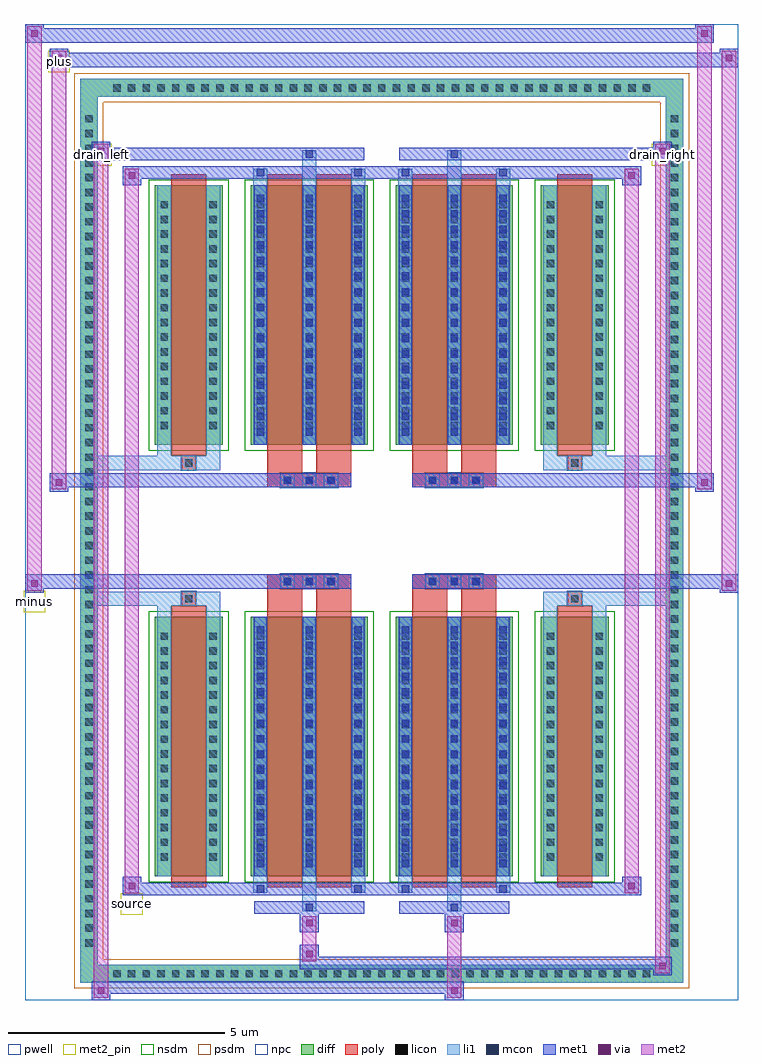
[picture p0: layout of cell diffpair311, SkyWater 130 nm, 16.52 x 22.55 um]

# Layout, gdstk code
import gdstk
lib = gdstk.Library(unit=1e-6, precision=5e-09)
def R(c, l, rs):  # rectangles x0, y0, x1, y1
    for r in rs: c.add(gdstk.rectangle(r[:2], r[2:], *l))
def A(c, l, x, y, w, h, nx, ny, dx, dy):  # array of equal rectangles
    R(c, l, [(x+i*dx, y+j*dy, x+i*dx+w, y+j*dy+h) for i in range(nx) for j in range(ny)])
def P(c, l, *ps):  # polygons
    for p in ps: c.add(gdstk.Polygon(p, *l))
pwell = (64, 44)
diff = (65, 20)
poly = (66, 20)
licon = (66, 44)
li1 = (67, 20)
mcon = (67, 44)
met1 = (68, 20)
via = (68, 44)
met2_pin = (69, 16)
met2 = (69, 20)
nsdm = (93, 44)
psdm = (94, 20)
npc = (95, 20)

diffpair311 = lib.new_cell('diffpair311')
R(diffpair311, pwell, [(-8.24,-10.84,8.24,11.71), (-5.56,-9.03,-0.01,-0.805), (0.01,-9.03,5.56,-0.805), (-5.56,0.805,-0.01,9.03), (0.01,0.805,5.56,9.03)])
A(diffpair311, diff, -6.325, -10.44, 0.41, 0.41, 37, 2, 0.34, 20.47)
A(diffpair311, diff, -6.97, -9.725, 0.41, 0.41, 1, 57, 0, 0.34)
A(diffpair311, diff, 6.56, -9.725, 0.41, 0.41, 1, 57, 0, 0.34)
R(diffpair311, diff, [(-6.325,-10.44,6.325,-10.03), (-6.97,-9.725,-6.56,9.725), (6.56,-9.725,6.97,9.725), (-5.25,-7.985,-3.67,-1.985), (-3.03,-7.985,-0.32,-1.985), (0.32,-7.985,3.03,-1.985), (3.67,-7.985,5.25,-1.985), (-5.25,1.985,-3.67,7.985), (-3.03,1.985,-0.32,7.985), (0.32,1.985,3.03,7.985), (3.67,1.985,5.25,7.985), (-6.325,10.03,6.325,10.44)])
P(diffpair311, diff, [(6.97,10.44),(-6.97,10.44),(-6.97,-10.03),(-6.56,-10.03),(-6.56,10.03),(6.56,10.03),(6.56,-10.03),(-6.56,-10.03),(-6.97,-10.03),(-6.97,-10.44),(6.97,-10.44)])
A(diffpair311, poly, -2.34, -1.335, 0.33, 0.33, 3, 2, 0.5, 2.34)
A(diffpair311, poly, 1.01, -1.335, 0.33, 0.33, 3, 2, 0.5, 2.34)
R(diffpair311, poly, [(-4.86,-8.235,-4.06,-1.735), (-2.64,-8.235,-1.84,-1.735), (-1.51,-8.235,-0.71,-1.735), (0.71,-8.235,1.51,-1.735), (1.84,-8.235,2.64,-1.735), (4.06,-8.235,4.86,-1.735), (-4.625,-1.735,-4.295,-1.405), (-4.625,-1.735,-4.295,-1.405), (-2.64,-1.735,-1.84,-1.335), (-1.51,-1.735,-0.71,-1.335), (0.71,-1.735,1.51,-1.335), (1.84,-1.735,2.64,-1.335), (4.295,-1.735,4.625,-1.405), (4.295,-1.735,4.625,-1.405), (-2.64,-1.335,-0.71,-1.005), (0.71,-1.335,2.64,-1.005), (-2.64,1.005,-0.71,1.335), (0.71,1.005,2.64,1.335), (-2.64,1.335,-1.84,1.735), (-1.51,1.335,-0.71,1.735), (0.71,1.335,1.51,1.735), (1.84,1.335,2.64,1.735), (-4.625,1.405,-4.295,1.735), (-4.625,1.405,-4.295,1.735), (4.295,1.405,4.625,1.735), (4.295,1.405,4.625,1.735), (-4.86,1.735,-4.06,8.235), (-2.64,1.735,-1.84,8.235), (-1.51,1.735,-0.71,8.235), (0.71,1.735,1.51,8.235), (1.84,1.735,2.64,8.235), (4.06,1.735,4.86,8.235)])
A(diffpair311, licon, -6.205, -10.32, 0.17, 0.17, 37, 2, 0.34, 20.47)
A(diffpair311, licon, -6.85, -9.605, 0.17, 0.17, 1, 57, 0, 0.34)
A(diffpair311, licon, 6.68, -9.605, 0.17, 0.17, 1, 57, 0, 0.34)
A(diffpair311, licon, -5.11, -7.62, 0.17, 0.17, 1, 16, 0, 0.34)
A(diffpair311, licon, -3.98, -7.62, 0.17, 0.17, 1, 16, 0, 0.34)
A(diffpair311, licon, -2.89, -7.62, 0.17, 0.17, 3, 16, 1.13, 0.34)
A(diffpair311, licon, 0.46, -7.62, 0.17, 0.17, 3, 16, 1.13, 0.34)
A(diffpair311, licon, 3.81, -7.62, 0.17, 0.17, 1, 16, 0, 0.34)
A(diffpair311, licon, 4.94, -7.62, 0.17, 0.17, 1, 16, 0, 0.34)
A(diffpair311, licon, -2.26, -1.255, 0.17, 0.17, 3, 2, 0.5, 2.34)
A(diffpair311, licon, 1.09, -1.255, 0.17, 0.17, 3, 2, 0.5, 2.34)
A(diffpair311, licon, -5.11, 2.35, 0.17, 0.17, 1, 16, 0, 0.34)
A(diffpair311, licon, -3.98, 2.35, 0.17, 0.17, 1, 16, 0, 0.34)
A(diffpair311, licon, -2.89, 2.35, 0.17, 0.17, 3, 16, 1.13, 0.34)
A(diffpair311, licon, 0.46, 2.35, 0.17, 0.17, 3, 16, 1.13, 0.34)
A(diffpair311, licon, 3.81, 2.35, 0.17, 0.17, 1, 16, 0, 0.34)
A(diffpair311, licon, 4.94, 2.35, 0.17, 0.17, 1, 16, 0, 0.34)
R(diffpair311, licon, [(-4.545,-1.655,-4.375,-1.485), (4.375,-1.655,4.545,-1.485), (-4.545,1.485,-4.375,1.655), (4.375,1.485,4.545,1.655)])
A(diffpair311, li1, -6.285, -10.4, 0.33, 0.33, 37, 2, 0.34, 20.47)
A(diffpair311, li1, -6.93, -9.685, 0.33, 0.33, 1, 57, 0, 0.34)
A(diffpair311, li1, 6.6, -9.685, 0.33, 0.33, 1, 57, 0, 0.34)
A(diffpair311, li1, -2.97, -7.985, 0.33, 6, 3, 2, 1.13, 9.97)
A(diffpair311, li1, 0.38, -7.985, 0.33, 6, 3, 2, 1.13, 9.97)
A(diffpair311, li1, -2.89, -7.77, 0.17, 0.17, 3, 16, 1.13, 0.36)
A(diffpair311, li1, -2.89, -7.77, 0.17, 5.57, 3, 2, 1.13, 9.97)
A(diffpair311, li1, 0.46, -7.77, 0.17, 0.17, 3, 16, 1.13, 0.36)
A(diffpair311, li1, 0.46, -7.77, 0.17, 5.57, 3, 2, 1.13, 9.97)
A(diffpair311, li1, -5.19, -7.7, 0.33, 0.33, 1, 16, 0, 0.34)
A(diffpair311, li1, -4.06, -7.7, 0.33, 0.33, 1, 16, 0, 0.34)
A(diffpair311, li1, -2.97, -7.7, 0.33, 0.33, 3, 16, 1.13, 0.34)
A(diffpair311, li1, 0.38, -7.7, 0.33, 0.33, 3, 16, 1.13, 0.34)
A(diffpair311, li1, 3.73, -7.7, 0.33, 0.33, 1, 16, 0, 0.34)
A(diffpair311, li1, 4.86, -7.7, 0.33, 0.33, 1, 16, 0, 0.34)
A(diffpair311, li1, -2.34, -1.335, 0.33, 0.33, 3, 2, 0.5, 2.34)
A(diffpair311, li1, 1.01, -1.335, 0.33, 0.33, 3, 2, 0.5, 2.34)
A(diffpair311, li1, -2.89, 2.2, 0.17, 0.17, 3, 16, 1.13, 0.36)
A(diffpair311, li1, 0.46, 2.2, 0.17, 0.17, 3, 16, 1.13, 0.36)
A(diffpair311, li1, -5.19, 2.27, 0.33, 0.33, 1, 16, 0, 0.34)
A(diffpair311, li1, -4.06, 2.27, 0.33, 0.33, 1, 16, 0, 0.34)
A(diffpair311, li1, -2.97, 2.27, 0.33, 0.33, 3, 16, 1.13, 0.34)
A(diffpair311, li1, 0.38, 2.27, 0.33, 0.33, 3, 16, 1.13, 0.34)
A(diffpair311, li1, 3.73, 2.27, 0.33, 0.33, 1, 16, 0, 0.34)
A(diffpair311, li1, 4.86, 2.27, 0.33, 0.33, 1, 16, 0, 0.34)
R(diffpair311, li1, [(-6.97,-10.44,-6.56,-10.03), (-6.97,-10.44,-6.56,-10.03), (-6.56,-10.44,6.56,-10.03), (6.56,-10.44,6.97,-10.03), (6.56,-10.44,6.97,-10.03), (-6.97,-10.03,-6.56,10.03), (6.56,-10.03,6.97,10.03), (-1.84,-8.79,-1.51,-7.985), (-1.76,-8.79,-1.59,-8.62), (1.51,-8.79,1.84,-7.985), (1.59,-8.79,1.76,-8.62), (-2.97,-8.36,-2.64,-7.985), (-2.89,-8.36,-2.72,-8.19), (-0.71,-8.36,-0.38,-7.985), (-0.63,-8.36,-0.46,-8.19), (0.38,-8.36,0.71,-7.985), (0.46,-8.36,0.63,-8.19), (2.64,-8.36,2.97,-7.985), (2.72,-8.36,2.89,-8.19), (-5.19,-7.985,-4.86,-1.985), (-4.06,-7.985,-3.73,-1.985), (3.73,-7.985,4.06,-1.985), (4.86,-7.985,5.19,-1.985), (-5.19,-1.985,-4.86,-1.405), (-4.06,-1.985,-3.73,-1.405), (3.73,-1.985,4.06,-1.405), (4.86,-1.985,5.19,-1.405), (-6.97,-1.735,-4.625,-1.405), (-5.19,-1.735,-4.625,-1.405), (-4.625,-1.735,-4.295,-1.405), (-4.295,-1.735,-3.73,-1.405), (3.73,-1.735,4.295,-1.405), (4.295,-1.735,4.625,-1.405), (4.295,-1.735,6.97,-1.405), (4.625,-1.735,5.19,-1.405), (-6.97,1.405,-4.625,1.735), (-5.19,1.405,-4.625,1.735), (-5.19,1.405,-4.86,1.985), (-4.625,1.405,-4.295,1.735), (-4.295,1.405,-3.73,1.735), (-4.06,1.405,-3.73,1.985), (3.73,1.405,4.295,1.735), (3.73,1.405,4.06,1.985), (4.295,1.405,4.625,1.735), (4.295,1.405,6.97,1.735), (4.625,1.405,5.19,1.735), (4.86,1.405,5.19,1.985), (-5.19,1.985,-4.86,7.985), (-4.06,1.985,-3.73,7.985), (3.73,1.985,4.06,7.985), (4.86,1.985,5.19,7.985), (-2.97,7.985,-2.64,8.36), (-1.84,7.985,-1.51,8.79), (-0.71,7.985,-0.38,8.36), (0.38,7.985,0.71,8.36), (1.51,7.985,1.84,8.79), (2.64,7.985,2.97,8.36), (-2.89,8.19,-2.72,8.36), (-0.63,8.19,-0.46,8.36), (0.46,8.19,0.63,8.36), (2.72,8.19,2.89,8.36), (-1.76,8.62,-1.59,8.79), (1.59,8.62,1.76,8.79), (-6.97,10.03,-6.56,10.44), (-6.97,10.03,-6.56,10.44), (-6.56,10.03,6.56,10.44), (6.56,10.03,6.97,10.44), (6.56,10.03,6.97,10.44)])
A(diffpair311, mcon, -2.89, -7.77, 0.17, 0.17, 3, 16, 1.13, 0.36)
A(diffpair311, mcon, 0.46, -7.77, 0.17, 0.17, 3, 16, 1.13, 0.36)
A(diffpair311, mcon, -2.26, -1.255, 0.17, 0.17, 3, 2, 0.5, 2.34)
A(diffpair311, mcon, 1.09, -1.255, 0.17, 0.17, 3, 2, 0.5, 2.34)
A(diffpair311, mcon, -2.89, 2.2, 0.17, 0.17, 3, 16, 1.13, 0.36)
A(diffpair311, mcon, 0.46, 2.2, 0.17, 0.17, 3, 16, 1.13, 0.36)
R(diffpair311, mcon, [(-1.76,-8.79,-1.59,-8.62), (1.59,-8.79,1.76,-8.62), (-2.89,-8.36,-2.72,-8.19), (-0.63,-8.36,-0.46,-8.19), (0.46,-8.36,0.63,-8.19), (2.72,-8.36,2.89,-8.19), (-2.89,8.19,-2.72,8.36), (-0.63,8.19,-0.46,8.36), (0.46,8.19,0.63,8.36), (2.72,8.19,2.89,8.36), (-1.76,8.62,-1.59,8.79), (1.59,8.62,1.76,8.79)])
A(diffpair311, met1, -2.95, -7.985, 0.29, 6, 3, 2, 1.13, 9.97)
A(diffpair311, met1, 0.4, -7.985, 0.29, 6, 3, 2, 1.13, 9.97)
A(diffpair311, met1, -2.95, -7.83, 0.29, 0.29, 3, 16, 1.13, 0.36)
A(diffpair311, met1, 0.4, -7.83, 0.29, 0.29, 3, 16, 1.13, 0.36)
A(diffpair311, met1, -2.32, -1.315, 0.29, 0.29, 3, 2, 0.5, 2.34)
A(diffpair311, met1, 1.03, -1.315, 0.29, 0.29, 3, 2, 0.5, 2.34)
A(diffpair311, met1, -2.95, 2.14, 0.29, 0.29, 3, 16, 1.13, 0.36)
A(diffpair311, met1, 0.4, 2.14, 0.29, 0.29, 3, 16, 1.13, 0.36)
R(diffpair311, met1, [(-6.7,-10.84,-6.27,-10.41), (1.46,-10.84,1.89,-10.41), (-6.7,-10.7,1.89,-10.41), (6.27,-10.27,6.7,-9.84), (-1.89,-10.13,6.7,-9.84), (-1.89,-9.99,-1.46,-9.56), (-1.89,-9.28,-1.46,-8.85), (1.46,-9.28,1.89,-8.85), (-2.95,-8.85,-0.4,-8.56), (-1.82,-8.85,-1.53,-8.56), (0.4,-8.85,2.95,-8.56), (1.53,-8.85,1.82,-8.56), (-5.99,-8.42,-5.56,-7.99), (-5.99,-8.42,-2.95,-8.13), (-2.95,-8.42,-2.66,-8.13), (-2.95,-8.42,-0.4,-8.13), (-0.69,-8.42,-0.4,-8.13), (-0.4,-8.42,0.4,-8.13), (0.4,-8.42,0.69,-8.13), (0.4,-8.42,2.95,-8.13), (2.66,-8.42,2.95,-8.13), (2.95,-8.42,5.99,-8.13), (5.56,-8.42,5.99,-7.99), (-8.24,-1.435,-7.81,-1.005), (7.81,-1.435,8.24,-1.005), (-8.24,-1.335,-0.71,-1.005), (-2.64,-1.335,-0.71,-1.005), (0.71,-1.335,2.64,-1.005), (0.71,-1.335,8.24,-1.005), (-7.67,0.905,-7.24,1.335), (7.24,0.905,7.67,1.335), (-7.67,1.005,-2.64,1.335), (-2.64,1.005,-0.71,1.335), (0.71,1.005,2.64,1.335), (2.64,1.005,7.67,1.335), (-5.99,7.99,-5.56,8.42), (5.56,7.99,5.99,8.42), (-5.99,8.13,-2.95,8.42), (-2.95,8.13,-2.66,8.42), (-2.95,8.13,-0.4,8.42), (-0.69,8.13,-0.4,8.42), (-0.4,8.13,0.4,8.42), (0.4,8.13,0.69,8.42), (0.4,8.13,2.95,8.42), (2.66,8.13,2.95,8.42), (2.95,8.13,5.99,8.42), (-6.7,8.56,-6.27,8.99), (-6.7,8.56,-2.95,8.85), (-2.95,8.56,-0.4,8.85), (-1.82,8.56,-1.53,8.85), (0.4,8.56,2.95,8.85), (1.53,8.56,1.82,8.85), (2.95,8.56,6.7,8.85), (6.27,8.56,6.7,8.99), (-7.67,10.71,-7.24,11.14), (-7.67,10.71,-5.56,11.04), (-5.56,10.71,5.56,11.04), (5.56,10.71,8.24,11.04), (7.81,10.71,8.24,11.14), (-8.24,11.28,-7.81,11.71), (-8.24,11.28,-5.56,11.61), (-5.56,11.28,5.56,11.61), (5.56,11.28,7.67,11.61), (7.24,11.28,7.67,11.71)])
R(diffpair311, via, [(-6.56,-10.7,-6.41,-10.55), (1.6,-10.7,1.75,-10.55), (6.41,-10.13,6.56,-9.98), (-1.75,-9.85,-1.6,-9.7), (-1.75,-9.14,-1.6,-8.99), (1.6,-9.14,1.75,-8.99), (-5.85,-8.28,-5.7,-8.13), (5.7,-8.28,5.85,-8.13), (-8.1,-1.295,-7.95,-1.145), (7.95,-1.295,8.1,-1.145), (-7.53,1.045,-7.38,1.195), (7.38,1.045,7.53,1.195), (-5.85,8.13,-5.7,8.28), (5.7,8.13,5.85,8.28), (-6.56,8.7,-6.41,8.85), (6.41,8.7,6.56,8.85), (-7.53,10.85,-7.38,11), (7.95,10.85,8.1,11), (-8.1,11.42,-7.95,11.57), (7.38,11.42,7.53,11.57)])
R(diffpair311, met2_pin, [(-6.025,-8.87,-5.525,-8.37), (-8.275,-1.885,-7.775,-1.385), (-6.735,8.44,-6.235,8.94), (6.235,8.44,6.735,8.94), (-7.705,10.59,-7.205,11.09)])
R(diffpair311, met2, [(-6.65,-10.79,-6.32,-10.46), (-6.65,-10.79,-6.32,8.94), (1.51,-10.79,1.84,-10.46), (1.51,-10.46,1.84,-9.23), (6.32,-10.22,6.65,-9.89), (6.32,-10.22,6.65,8.94), (-1.84,-9.94,-1.51,-9.61), (-1.84,-9.61,-1.51,-9.23), (-1.84,-9.23,-1.51,-8.9), (1.51,-9.23,1.84,-8.9), (-5.94,-8.37,-5.61,-8.04), (-5.94,-8.37,-5.61,8.37), (5.61,-8.37,5.94,-8.04), (5.61,-8.37,5.94,8.37), (-8.19,-1.385,-7.86,-1.055), (-8.19,-1.385,-7.86,11.66), (7.86,-1.385,8.19,-1.055), (7.86,-1.385,8.19,11.09), (-7.62,0.955,-7.29,1.285), (-7.62,0.955,-7.29,11.09), (7.29,0.955,7.62,1.285), (7.29,0.955,7.62,11.66), (-5.94,8.04,-5.61,8.37), (5.61,8.04,5.94,8.37), (-6.65,8.61,-6.32,8.94), (6.32,8.61,6.65,8.94), (-7.62,10.76,-7.29,11.09), (7.86,10.76,8.19,11.09), (-8.19,11.33,-7.86,11.66), (7.29,11.33,7.62,11.66)])
P(diffpair311, met2, [(8.19,-1.385),(8.19,-1.385),(8.19,-1.055),(8.19,-1.055)],
  [(8.19,10.76),(8.19,10.76),(8.19,11.09),(8.19,11.09)],
  [(-7.86,-1.385),(-7.86,-1.385),(-7.86,-1.055),(-7.86,-1.055)],
  [(-7.86,11.33),(-7.86,11.33),(-7.86,11.66),(-7.86,11.66)],
  [(7.62,0.955),(7.62,0.955),(7.62,1.285),(7.62,1.285)],
  [(7.62,11.33),(7.62,11.33),(7.62,11.66),(7.62,11.66)],
  [(-7.29,0.955),(-7.29,0.955),(-7.29,1.285),(-7.29,1.285)],
  [(-7.29,10.76),(-7.29,10.76),(-7.29,11.09),(-7.29,11.09)],
  [(-6.32,-10.79),(-6.32,-10.79),(-6.32,-10.46),(-6.32,-10.46)],
  [(-6.32,8.61),(-6.32,8.61),(-6.32,8.94),(-6.32,8.94)],
  [(6.65,-10.22),(6.65,-10.22),(6.65,-9.89),(6.65,-9.89)],
  [(6.65,8.61),(6.65,8.61),(6.65,8.94),(6.65,8.94)],
  [(-5.61,-8.37),(-5.61,-8.37),(-5.61,-8.04),(-5.61,-8.04)],
  [(-5.61,8.04),(-5.61,8.04),(-5.61,8.37),(-5.61,8.37)],
  [(5.94,-8.37),(5.94,-8.37),(5.94,-8.04),(5.94,-8.04)],
  [(5.94,8.04),(5.94,8.04),(5.94,8.37),(5.94,8.37)])
R(diffpair311, nsdm, [(-5.38,-8.115,-3.54,-1.855), (-3.16,-8.115,-0.19,-1.855), (0.19,-8.115,3.16,-1.855), (3.54,-8.115,5.38,-1.855), (-5.38,1.855,-3.54,8.115), (-3.16,1.855,-0.19,8.115), (0.19,1.855,3.16,8.115), (3.54,1.855,5.38,8.115)])
P(diffpair311, psdm, [(7.1,10.57),(-7.1,10.57),(-7.1,-9.9),(-6.43,-9.9),(-6.43,9.9),(6.43,9.9),(6.43,-9.9),(-6.43,-9.9),(-7.1,-9.9),(-7.1,-10.57),(7.1,-10.57)])
A(diffpair311, npc, -2.36, -1.355, 0.37, 0.37, 3, 2, 0.5, 2.34)
A(diffpair311, npc, 0.99, -1.355, 0.37, 0.37, 3, 2, 0.5, 2.34)
R(diffpair311, npc, [(-4.645,-1.755,-4.275,-1.385), (4.275,-1.755,4.645,-1.385), (-2.36,-1.355,-1.49,-0.985), (-2.36,-1.355,-1.49,-0.985), (-1.86,-1.355,-0.99,-0.985), (-1.86,-1.355,-0.99,-0.985), (0.99,-1.355,1.86,-0.985), (0.99,-1.355,1.86,-0.985), (1.49,-1.355,2.36,-0.985), (1.49,-1.355,2.36,-0.985), (-2.36,0.985,-1.49,1.355), (-2.36,0.985,-1.49,1.355), (-1.86,0.985,-0.99,1.355), (-1.86,0.985,-0.99,1.355), (0.99,0.985,1.86,1.355), (0.99,0.985,1.86,1.355), (1.49,0.985,2.36,1.355), (1.49,0.985,2.36,1.355), (-4.645,1.385,-4.275,1.755), (4.275,1.385,4.645,1.755)])
diffpair311.add(gdstk.Label('minus', (-8.025,-1.635), layer=69, texttype=5))
diffpair311.add(gdstk.Label('drain_right', (6.485,8.69), layer=69, texttype=5))
diffpair311.add(gdstk.Label('drain_left', (-6.485,8.69), layer=69, texttype=5))
diffpair311.add(gdstk.Label('source', (-5.775,-8.62), layer=69, texttype=5))
diffpair311.add(gdstk.Label('plus', (-7.455,10.84), layer=69, texttype=5))

lib.write_gds('diffpair311.gds')
